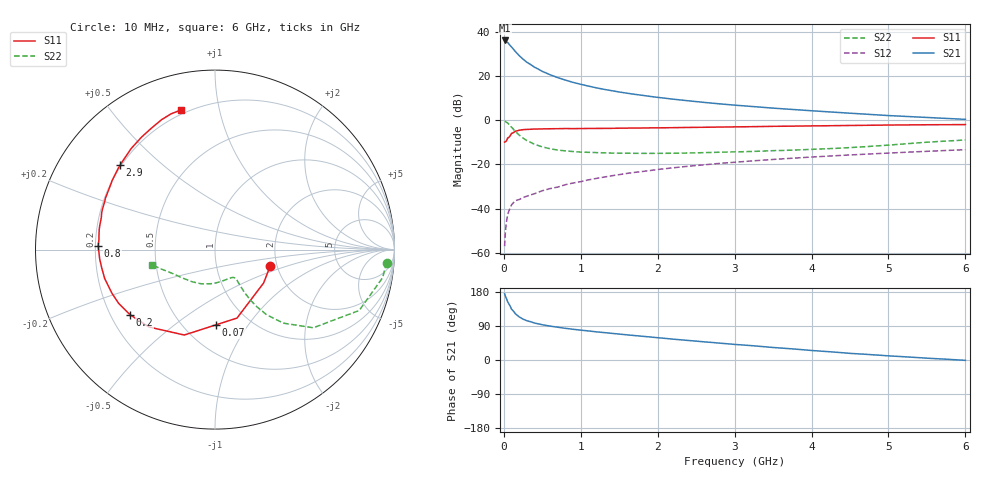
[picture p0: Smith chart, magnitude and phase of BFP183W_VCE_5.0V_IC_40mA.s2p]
! (c) 2017  Infineon Technologies AG, Munich
! Infineon Technologies  Discrete & RF Semiconductors
! BFP183W
! VCE =  5.0 V,  IC =  40 mA
! Common Emitter S-Parameters:  Jan 2017
# GHz  S  MA  R  50
!  f  S11  S21  S12  S22
! GHz  MAG  ANG  MAG  ANG  MAG  ANG  MAG  ANG
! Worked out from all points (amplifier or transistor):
!   77 points, 10 MHz to 6 GHz, reference 50 ohm
!   highest |S21| = 36.2 dB at 10 MHz (marker M1)
!   |S21| within 3 dB of that: start of sweep to 101.1 MHz
!   unconditionally stable (mu >= 1): 823 MHz to 3.295 GHz
!   at 130 MHz: K = 0.36, MSG = 34.6 dB, |S12| = -37.1 dB
!   at 2.2 GHz: K = 1.06, MAG = 14.1 dB, |S12| = -21.5 dB
!   at 6 GHz: K = 0.86, MSG = 6.9 dB, |S12| = -13.3 dB
!   S11 on the Smith chart (normalised r, x): 10 MHz: 1.84, -0.37; 70 MHz: 0.71, -0.72; 200 MHz: 0.28, -0.32; 800 MHz: 0.21, +0.02; 2.9 GHz: 0.20, +0.37; 6 GHz: 0.18, +0.77
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0.01  0.3213 -16.2  64.88 174.8  0.0014 86.5  0.9584 -4.4
0.02  0.3286 -34.6  64.03 168.6  0.0029 86.3  0.9469 -9.5
0.05  0.4008 -72.2  58.15 153.4  0.0073 70.6  0.872 -22.9
0.07  0.4194 -89.3  52.67 146.7  0.0092 65.2  0.7964 -28.3
0.1  0.5058 -109.8  46.17 134.1  0.0121 60.3  0.6999 -38.5
0.15  0.5664 -130.4  36.39 122.0  0.0151 51.9  0.5589 -47.1
0.2  0.5964 -142.5  29.34 113.7  0.016 51.1  0.4629 -51.6
0.25  0.6148 -150.9  24.4 107.8  0.0177 49.5  0.3945 -53.8
0.3  0.6234 -157.0  20.76 103.6  0.0191 49.7  0.3467 -54.9
0.4  0.6353 -165.2  15.99 97.4  0.0217 53.5  0.2852 -55.5
0.5  0.6394 -170.9  12.91 93.0  0.0253 56.0  0.2496 -55.1
0.6  0.6445 -175.2  10.85 89.5  0.0283 56.9  0.2276 -54.8
0.7  0.6472 -178.9  9.32 86.5  0.0306 60.4  0.2119 -54.3
0.8  0.6514 178.0  8.185 83.6  0.0347 61.6  0.2032 -54.3
1.1  0.6544 170.4  5.981 76.7  0.0447 64.2  0.1883 -55.9
1.5  0.6638 162.1  4.397 68.4  0.0587 64.5  0.18 -61.1
2.1  0.6791 150.9  3.17 57.0  0.0802 63.5  0.1789 -74.0
2.9  0.7075 138.3  2.291 42.9  0.1087 59.7  0.1907 -95.9
3.1  0.7143 135.4  2.145 39.7  0.1156 58.4  0.1943 -101.4
4.1  0.7513 121.9  1.609 23.7  0.1505 52.2  0.2229 -128.3
5.1  0.7848 111.4  1.259 9.8  0.1844 45.7  0.2828 -153.4
6  0.8007 103.6  1.053 -0.9  0.2162 39.2  0.359 -166.4
